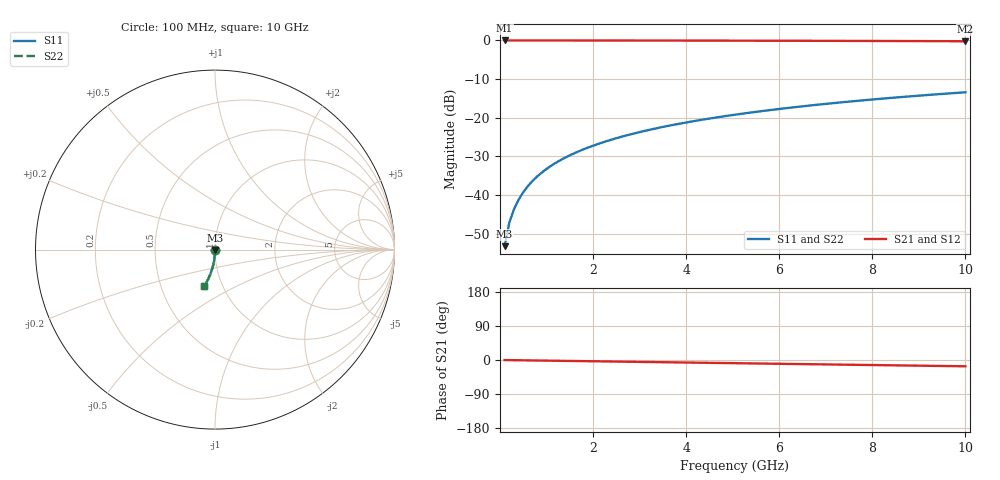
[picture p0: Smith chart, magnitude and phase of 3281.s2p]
# Hz S RI R 50.00
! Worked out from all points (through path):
!   100 points, 100 MHz to 10 GHz, reference 50 ohm
!   highest |S21| = 0.00 dB at 100 MHz (marker M1); lowest = -0.2 dB at 10 GHz (marker M2)
!   group delay of S21, straight-line fit = 4.62 ps
!   lowest |S11| = -53.3 dB at 100 MHz (marker M3), VSWR 1.00, Z = 50 - j0.217 ohm
!   |S11| at or under -10 dB: start of sweep to end of sweep
!   |S22| runs from -53.3 to -13.4 dB; largest |S21 - S12| = 0
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1e8  0.000106 -0.00217  0.9999 -0.0029  0.9999 -0.0029  0.000106 -0.00217
2e8  8.55e-05 -0.00433  0.9999 -0.0058  0.9999 -0.0058  8.55e-05 -0.00433
3e8  5.22e-05 -0.0065  0.9998 -0.0087  0.9998 -0.0087  5.22e-05 -0.0065
4e8  6.17e-06 -0.00867  0.9998 -0.0116  0.9998 -0.0116  6.17e-06 -0.00867
5e8  -5.25e-05 -0.0108  0.9997 -0.0145  0.9997 -0.0145  -5.25e-05 -0.0108
6e8  -0.000124 -0.013  0.9996 -0.0174  0.9996 -0.0174  -0.000124 -0.013
7e8  -0.000208 -0.0152  0.9995 -0.0203  0.9995 -0.0203  -0.000208 -0.0152
8e8  -0.000304 -0.0173  0.9994 -0.0232  0.9994 -0.0232  -0.000304 -0.0173
9e8  -0.000413 -0.0195  0.9993 -0.0261  0.9993 -0.0261  -0.000413 -0.0195
1.1e9  -0.000669 -0.0238  0.9991 -0.0319  0.9991 -0.0319  -0.000669 -0.0238
1.4e9  -0.00115 -0.0303  0.9986 -0.0406  0.9986 -0.0406  -0.00115 -0.0303
1.8e9  -0.00196 -0.039  0.9977 -0.0522  0.9977 -0.0522  -0.00196 -0.039
2.1e9  -0.00271 -0.0454  0.9969 -0.0609  0.9969 -0.0609  -0.00271 -0.0454
2.5e9  -0.00387 -0.054  0.9957 -0.0724  0.9957 -0.0724  -0.00387 -0.054
2.9e9  -0.00524 -0.0626  0.9943 -0.084  0.9943 -0.084  -0.00524 -0.0626
3.4e9  -0.00723 -0.0733  0.9922 -0.0984  0.9922 -0.0984  -0.00723 -0.0733
4.2e9  -0.0111 -0.0903  0.9882 -0.1213  0.9882 -0.1213  -0.0111 -0.0903
5.1e9  -0.0163 -0.1091  0.9827 -0.1468  0.9827 -0.1468  -0.0163 -0.1091
5.9e9  -0.0218 -0.1256  0.977 -0.1693  0.977 -0.1693  -0.0218 -0.1256
6.7e9  -0.028 -0.1418  0.9705 -0.1914  0.9705 -0.1914  -0.028 -0.1418
8.4e9  -0.0436 -0.175  0.9542 -0.2374  0.9542 -0.2374  -0.0436 -0.175
1e10  -0.061 -0.2044  0.9359 -0.279  0.9359 -0.279  -0.061 -0.2044
